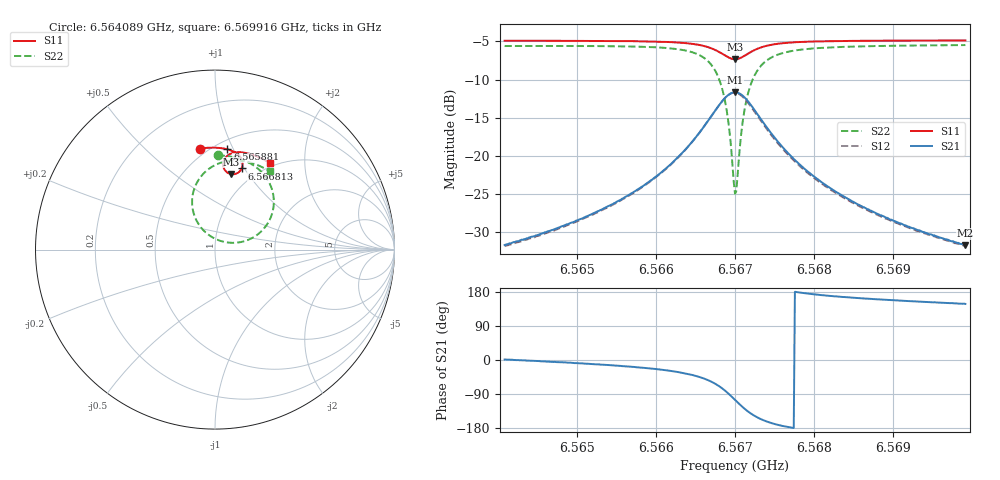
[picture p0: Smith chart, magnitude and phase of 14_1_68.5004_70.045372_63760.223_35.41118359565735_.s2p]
#  HZ  S  RI  R  50.00
! Rohde & Schwarz Vector Network Analyzer
! Rohde-Schwarz,ZNB20-2Port,1311601062101988,3.16
! Created: UTC 3/20/2024, 5:04:17 PM
! freq[Hz]  re:S11  im:S11  re:S21  im:S21  re:S12  im:S12  re:S22  im:S22
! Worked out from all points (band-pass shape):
!   401 points, 6.564089 GHz to 6.569916 GHz, reference 50 ohm
!   highest |S21| = -11.65 dB at 6.567003 GHz (marker M1); lowest = -31.7 dB at 6.569916 GHz (marker M2)
!   |S21| within 3 dB of the highest: 6.566712 GHz to 6.567295 GHz (582.4 kHz wide, 0.00887 % of centre)
!   lowest |S11| = -7.3 dB at 6.567003 GHz (marker M3), VSWR 2.51, Z = 40.4 + j41.7 ohm
!   |S11| at or under -10 dB: nowhere
!   |S22| runs from -24.9 to -5.5 dB; largest |S21 - S12| = 0.012
!   S11 on the Smith chart (normalised r, x): 6.564089 GHz: 0.45, +0.76; 6.565881 GHz: 0.58, +0.95; 6.566813 GHz: 0.83, +0.97; 6.569916 GHz: 0.94, +1.35
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6.564089e9  -0.0834 0.5629  0.0261 0.000566  0.0257 0.000174  0.0153 0.5246
6.565065e9  -0.00461 0.5679  0.0384 -0.006  0.0379 -0.00659  0.1046 0.5143
6.5658808e9  0.0689 0.5588  0.0613 -0.0239  0.0603 -0.0247  0.2021 0.4771
6.5660411e9  0.0851 0.554  0.0689 -0.0318  0.0678 -0.0327  0.2268 0.4608
6.566347e9  0.1188 0.5373  0.0879 -0.0599  0.0863 -0.061  0.2822 0.4056
6.5665655e9  0.1435 0.512  0.1014 -0.1039  0.0992 -0.1058  0.3213 0.3208
6.5667112e9  0.1539 0.4815  0.0977 -0.1569  0.094 -0.1595  0.3229 0.2193
6.5668132e9  0.1491 0.4524  0.0721 -0.207  0.0658 -0.2096  0.2791 0.1253
6.5669006e9  0.129 0.4286  0.021 -0.2457  0.0118 -0.2464  0.1865 0.0548
6.5669297e9  0.1186 0.4233  -0.00263 -0.2536  -0.0127 -0.2528  0.1439 0.0419
6.566988e9  0.0946 0.4198  -0.055 -0.2554  -0.0654 -0.2511  0.0508 0.043
6.5670026e9  0.0884 0.4207  -0.0685 -0.2525  -0.0787 -0.2473  0.0277 0.0494
6.5670317e9  0.0766 0.4247  -0.0936 -0.243  -0.1031 -0.236  -0.0152 0.0687
6.56709e9  0.0577 0.4394  -0.1348 -0.2116  -0.1414 -0.2021  -0.0825 0.1289
6.5671337e9  0.0491 0.454  -0.1547 -0.1821  -0.1589 -0.172  -0.1123 0.183
6.5671919e9  0.0453 0.4742  -0.1674 -0.1425  -0.1687 -0.1327  -0.1275 0.2534
6.5672648e9  0.0491 0.4957  -0.1673 -0.0999  -0.1664 -0.0917  -0.1192 0.3271
6.567527e9  0.0881 0.5345  -0.1255 -0.0217  -0.1229 -0.0181  -0.0238 0.457
6.5679786e9  0.1468 0.5421  -0.0746 0.00796  -0.0729 0.0091  0.0962 0.4964
6.5684011e9  0.1883 0.5347  -0.0517 0.013  -0.0506 0.0137  0.1633 0.4926
6.5689547e9  0.2344 0.5189  -0.0358 0.0142  -0.0351 0.0146  0.2255 0.4758
6.5699161e9  0.3037 0.4834  -0.022 0.0137  -0.0216 0.0138  0.3054 0.4363
